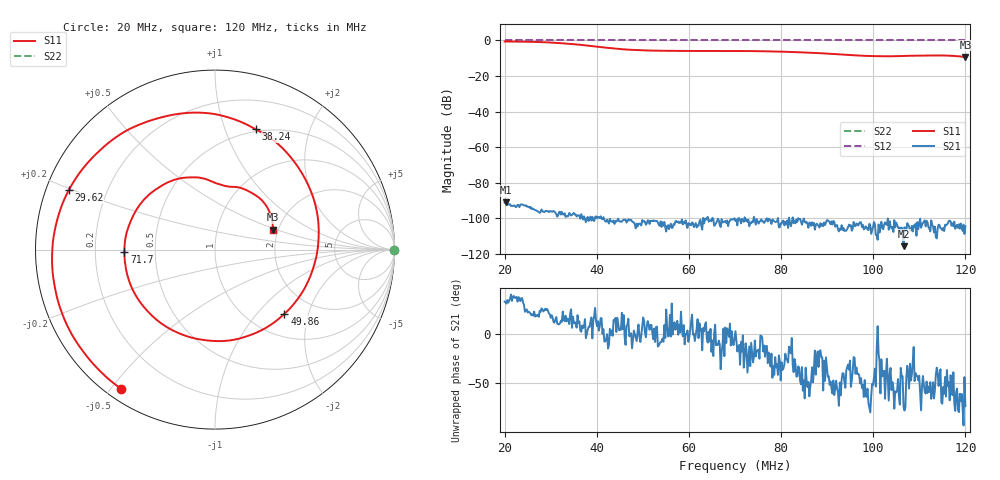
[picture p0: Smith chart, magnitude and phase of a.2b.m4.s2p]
! Anritsu VNA Master:  Model: MS2036C/10/77
! SN:  1601066
! /bd0/18may09/252.ns.m4.s2p
! Existing Calibration Information:
! TYPE:  Current Settings,  Active Cal Settings
! TIME:  05/09/2018 08:57:16 AM,  05/09/2018 08:47:23 AM
! INTERNAL TEMP:  40.0 C,  40.0 C
! # POINTS:  500,  500
! START FREQ:  20.000 MHz,  20.000 MHz
! STOP FREQ:  120.000 MHz,  120.000 MHz
! SOURCE POWER:  High,  High
! IFBW:  50 Hz,  50 Hz
! AVG FACTOR:  1 ,  1
! REF PLANE 1:  0 mm,  0 mm
! REF PLANE 2:  0 mm,  0 mm
! CAL TYPE:  Full S11,  Full S11
! CAL METHOD:  SOLT,  SOLT
! CAL LINE TYPE:  Coax,  Coax
! DUT PORT 1:  K-Conn(F),  K-Conn(F)
! DUT PORT 2:  K-Conn(F),  K-Conn(F)
! CAL STATUS:  OK: Accuracy High,  --
# GHZ S DB R 50.0
! FREQ.GHZ  S11DB  S11A  S21DB  S21A  S12DB  S12A  S22DB  S22A
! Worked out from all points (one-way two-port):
!   500 points, 20 MHz to 120 MHz, reference 50 ohm
!   highest |S21| = -90.97 dB at 20.2 MHz (marker M1); lowest = -115.7 dB at 106.6 MHz (marker M2)
!   lowest |S11| = -9.3 dB at 120 MHz (marker M3), VSWR 2.03, Z = 93.8 + j23.5 ohm
!   |S11| at or under -10 dB: nowhere
!   |S22| runs from 0.0 to 0.0 dB; largest |S21 - S12| = 1
!   S11 on the Smith chart (normalised r, x): 20 MHz: 0.04, -0.53; 29.62 MHz: 0.07, +0.20; 38.24 MHz: 0.48, +1.28; 49.86 MHz: 1.43, -1.42; 71.7 MHz: 0.33, -0.01; 120 MHz: 1.88, +0.47
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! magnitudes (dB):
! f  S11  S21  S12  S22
! 20 MHz  -0.6  -91.3  0.0  0.0
! 20.2 MHz  -0.6  -91.0  0.0  0.0
! 26.01 MHz  -0.8  -94.4  0.0  0.0
! 29.62 MHz  -1.1  -96.5  0.0  0.0
! 32.83 MHz  -1.6  -98.0  0.0  0.0
! 36.83 MHz  -2.6  -99.2  0.0  0.0
! 38.24 MHz  -3.0  -101.6  0.0  0.0
! 44.85 MHz  -4.8  -101.6  0.0  0.0
! 49.86 MHz  -5.6  -101.0  0.0  0.0
! 53.47 MHz  -5.8  -103.6  0.0  0.0
! 57.07 MHz  -5.9  -101.7  0.0  0.0
! 70.1 MHz  -5.9  -101.5  0.0  0.0
! 71.7 MHz  -5.9  -101.1  0.0  0.0
! 79.92 MHz  -6.3  -102.9  0.0  0.0
! 86.73 MHz  -6.9  -102.3  0.0  0.0
! 97.76 MHz  -8.6  -103.8  0.0  0.0
! 103.4 MHz  -8.9  -106.5  0.0  0.0
! 106.6 MHz  -8.7  -115.7  0.0  0.0
! 108.8 MHz  -8.6  -104.1  0.0  0.0
! 115 MHz  -8.4  -106.7  0.0  0.0
! 117.6 MHz  -8.7  -101.9  0.0  0.0
! 120 MHz  -9.3  -104.4  0.0  0.0
